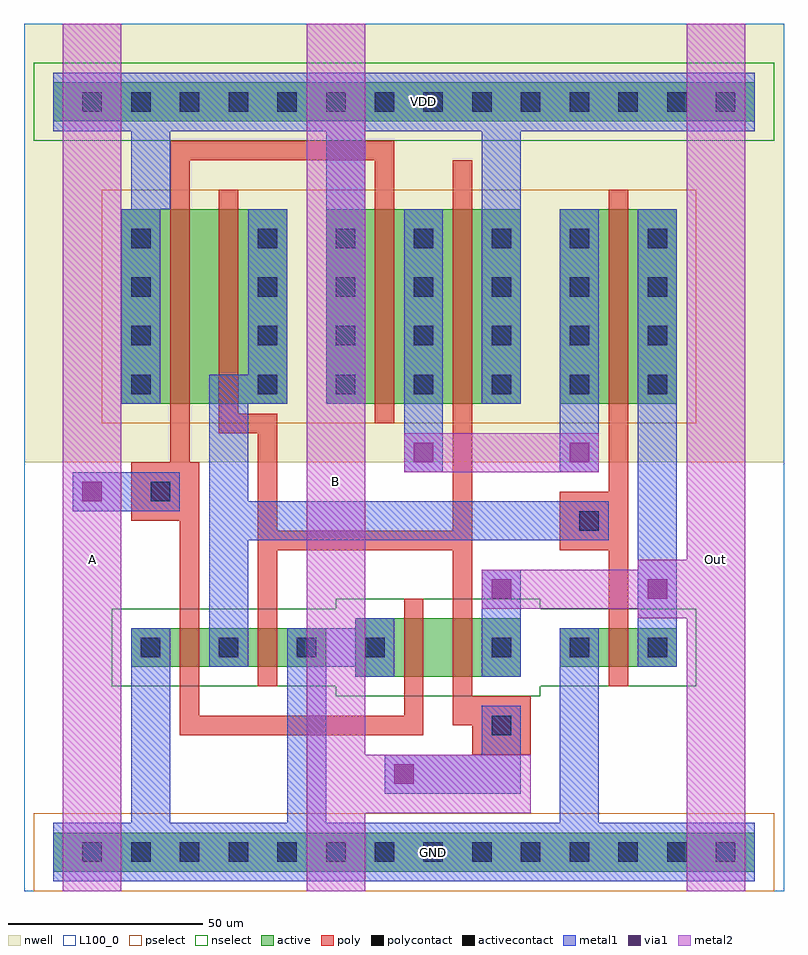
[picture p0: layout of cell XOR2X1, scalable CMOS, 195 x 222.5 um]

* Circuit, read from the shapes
.subckt XOR2X1 A B GND Out VDD
M1 n1 A GND GND nfet w=10u l=5u
M2 GND B n1 GND nfet w=10u l=5u
M3 n2 A GND GND nfet w=15u l=5u
M4 Out B n2 GND nfet w=15u l=5u
M5 Out n1 GND GND nfet w=10u l=5u
M6 n3 A VDD VDD pfet w=50u l=5u
M7 n1 B n3 VDD pfet w=50u l=5u
M8 n4 A VDD VDD pfet w=50u l=5u
M9 VDD B n4 VDD pfet w=50u l=5u
M10 Out n1 n4 VDD pfet w=50u l=5u
.ends

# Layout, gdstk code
import gdstk
lib = gdstk.Library(unit=1e-6, precision=1e-09)
def R(c, l, rs):  # rectangles x0, y0, x1, y1
    for r in rs: c.add(gdstk.rectangle(r[:2], r[2:], *l))
def A(c, l, x, y, w, h, nx, ny, dx, dy):  # array of equal rectangles
    R(c, l, [(x+i*dx, y+j*dy, x+i*dx+w, y+j*dy+h) for i in range(nx) for j in range(ny)])
nwell = (42, 0)
active = (43, 0)
pselect = (44, 0)
nselect = (45, 0)
poly = (46, 0)
polycontact = (47, 0)
activecontact = (48, 0)
metal1 = (49, 0)
via1 = (50, 0)
metal2 = (51, 0)
L100_0 = (100, 0)

xor2x1 = lib.new_cell('XOR2X1')
R(xor2x1, nwell, [(0,110,195,112.5), (0,112.5,195,222.5), (7.5,112.5,187.5,190), (0,190,195,215), (7.5,215,187.5,222.5)])
R(xor2x1, active, [(7.5,5,187.5,15), (85,55,127.5,70), (27.5,57.5,77.5,67.5), (137.5,57.5,167.5,67.5), (25,125,67.5,175), (77.5,125,127.5,175), (137.5,125,167.5,175), (7.5,197.5,187.5,207.5)])
R(xor2x1, pselect, [(2.5,0,192.5,20), (20,120,172.5,180)])
R(xor2x1, nselect, [(80,50,132.5,52.5), (22.5,52.5,172.5,72.5), (80,72.5,132.5,75), (2.5,192.5,192.5,212.5)])
R(xor2x1, poly, [(115,35,130,42.5), (40,40,102.5,45), (110,42.5,130,50), (40,45,45,95), (97.5,45,102.5,75), (110,50,115,87.5), (60,52.5,65,87.5), (150,52.5,155,87.5), (60,87.5,115,92.5), (137.5,87.5,155,102.5), (60,92.5,65,117.5), (110,92.5,115,187.5), (27.5,95,45,110), (150,102.5,155,180), (37.5,110,42.5,187.5), (50,117.5,65,122.5), (90,120,95,187.5), (50,122.5,55,180), (37.5,187.5,95,192.5)])
R(xor2x1, polycontact, [(120,40,125,45), (142.5,92.5,147.5,97.5), (32.5,100,37.5,105)])
A(xor2x1, activecontact, 15, 7.5, 5, 5, 14, 2, 12.5, 192.5)
A(xor2x1, activecontact, 30, 60, 5, 5, 3, 1, 20, 0)
A(xor2x1, activecontact, 120, 60, 5, 5, 3, 1, 20, 0)
A(xor2x1, activecontact, 27.5, 127.5, 5, 5, 1, 4, 0, 12.5)
A(xor2x1, activecontact, 60, 127.5, 5, 5, 6, 4, 20, 12.5)
R(xor2x1, activecontact, [(87.5,60,92.5,65)])
R(xor2x1, metal1, [(7.5,2.5,187.5,17.5), (27.5,17.5,37.5,67.5), (67.5,17.5,77.5,57.5), (137.5,17.5,147.5,67.5), (92.5,25,127.5,35), (117.5,35,127.5,47.5), (85,55,95,57.5), (117.5,55,127.5,82.5), (47.5,57.5,57.5,90), (67.5,57.5,95,67.5), (157.5,57.5,167.5,175), (85,67.5,95,70), (47.5,90,150,100), (12.5,97.5,40,107.5), (47.5,100,57.5,125), (97.5,107.5,107.5,175), (137.5,107.5,147.5,175), (25,125,35,175), (47.5,125,67.5,132.5), (77.5,125,87.5,195), (117.5,125,127.5,195), (57.5,132.5,67.5,175), (27.5,175,37.5,195), (7.5,195,187.5,210)])
R(xor2x1, via1, [(95,27.5,100,32.5), (120,75,125,80), (160,75,165,80), (15,100,20,105), (100,110,105,115), (140,110,145,115)])
R(xor2x1, metal2, [(10,0,25,222.5), (72.5,0,87.5,20), (72.5,0,87.5,222.5), (170,0,185,70), (170,0,185,222.5), (72.5,20,130,35), (157.5,70,185,72.5), (117.5,72.5,185,82.5), (157.5,82.5,185,85), (97.5,107.5,147.5,117.5)])
R(xor2x1, L100_0, [(0,0,195,222.5)])
xor2x1.add(gdstk.Label('GND', (105,10), layer=49, texttype=1))
xor2x1.add(gdstk.Label('VDD', (102.5,202.5), layer=49, texttype=1))
xor2x1.add(gdstk.Label('A', (17.5,85), layer=51, texttype=1))
xor2x1.add(gdstk.Label('B', (80,105), layer=51, texttype=1))
xor2x1.add(gdstk.Label('Out', (177.5,85), layer=51, texttype=1))

lib.write_gds('XOR2X1.gds')
